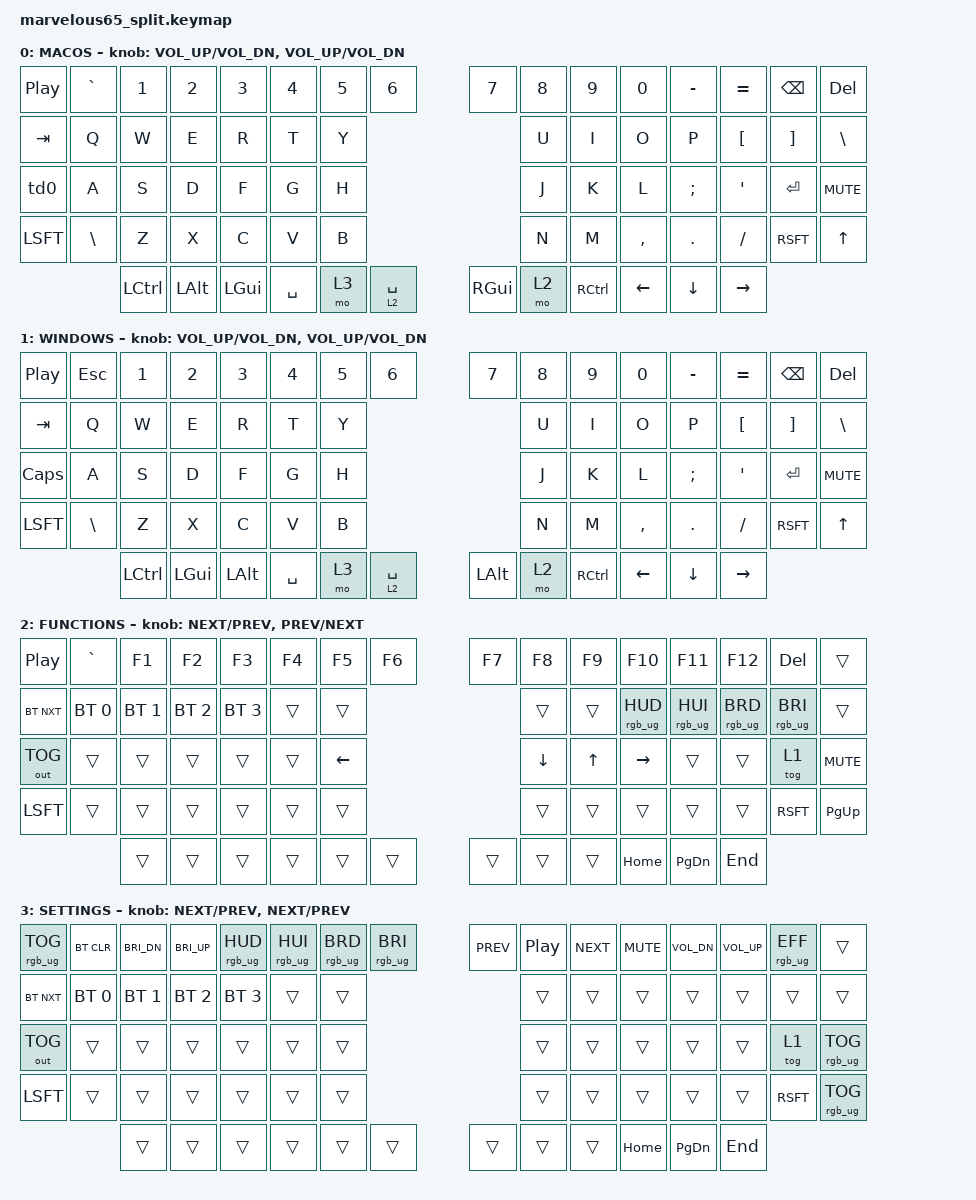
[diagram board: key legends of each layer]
/*
 * Copyright (c) 2020 The ZMK Contributors
 *
 * SPDX-License-Identifier: MIT
 */

#include <behaviors.dtsi>
#include <dt-bindings/zmk/keys.h>
#include <dt-bindings/zmk/bt.h>
#include <dt-bindings/zmk/outputs.h>
#include <dt-bindings/zmk/rgb.h>

/ {
  behaviors {
        td0: tap_dance_0 {
            compatible = "zmk,behavior-tap-dance";
            label = "TAP_DANCE_0";
            #binding-cells = <0>;
            tapping-term-ms = <200>;
            bindings = <&kp CLCK>, <&kp ESC>;
        };
  };

	keymap0: keymap {
		compatible = "zmk,keymap";
		
    default_layer {
      label = "MACOS";
      //      -------------------------------------------------------------------------------------------------
      // ENC  | ESC |  1  |  2  |  3  |  4  |  5  |  6  |   /**/         |  7  |  8  |  9  |  0  |  -  |  =  |   BKSP    |   |
      //      | TAB  |  Q  |  W  |  E  |  R  |  T  |        /**/    |  Y  |  U  |  I  |  O  |  P  |  [  |  ]  |    \     |      |
      //      | CAPS  |  A  |  S  |  D  |  F  |  G  |                |  H  |  J  |  K  |  L  |  ;  |  '  |     ENTER     |  ENC    |
      //      |  SHIFT  |  Z  |  X  |  C  |  V  |  B  |                |  N  |  M  |  ,  |  .  |  /  |    SHIFT   |  UP  |      |
      //      |  CTL  |  WIN  |  ALT  |  SPACE | MO(2) |                |    SPACE    | ALT | MO(1) | CTRL | LEFT | DOWN | RIGHT|
      // -------------------------------------------------------------------------------------------------
      bindings = <
        &kp C_PP &kp GRAVE &kp NUM_1  &kp NUM_2 &kp NUM_3 &kp NUM_4 &kp NUM_5 &kp NUM_6                &kp NUM_7 &kp NUM_8 &kp NUM_9 &kp NUM_0 &kp MINUS &kp EQL  &kp BKSP &kp DEL
              &kp TAB  &kp  Q  &kp  W  &kp  E  &kp  R  &kp  T                            &kp   Y   &kp   U   &kp   I   &kp   O   &kp   P   &kp LBKT &kp RBKT &kp BSLH 
              &td0  &kp  A  &kp  S  &kp  D  &kp  F  &kp  G                                     &kp   H   &kp   J   &kp   K   &kp   L   &kp  SCLN  &kp  QUOT &kp RET &kp C_MUTE
              &kp LSFT   &kp BSLH  &kp  Z  &kp  X  &kp  C  &kp  V  &kp  B                               &kp   N   &kp   M   &kp  CMMA &kp  DOT  &kp FSLH      &kp RSFT &kp UP 
              &kp LCTL &kp  LALT  &kp  LGUI  &kp        SPC        &mo  3                                   &lt 2 SPC       &kp  RGUI  &mo 2 &kp  RCTL  &kp LEFT &kp DOWN &kp RIGHT 
      >;
      //sensor-bindings = <&inc_dec_kp C_VOL_UP C_VOL_DN &inc_dec_kp C_VOL_DN C_VOL_UP>;
      sensor-bindings = <&inc_dec_kp C_VOL_UP C_VOL_DN &inc_dec_kp C_VOL_UP C_VOL_DN>;
        
    };

    windows {
      label = "WINDOWS";
			bindings = <
        &kp C_PP &kp ESC &kp NUM_1  &kp NUM_2 &kp NUM_3 &kp NUM_4 &kp NUM_5 &kp NUM_6                &kp NUM_7 &kp NUM_8 &kp NUM_9 &kp NUM_0 &kp MINUS &kp EQL  &kp BKSP &kp DEL
        	    &kp TAB  &kp  Q  &kp  W  &kp  E  &kp  R  &kp  T                            &kp   Y   &kp   U   &kp   I   &kp   O   &kp   P   &kp LBKT &kp RBKT &kp BSLH 
        	    &kp CLCK  &kp  A  &kp  S  &kp  D  &kp  F  &kp  G                                     &kp   H   &kp   J   &kp   K   &kp   L   &kp  SCLN  &kp  QUOT &kp RET &kp C_MUTE
        	    &kp LSFT   &kp BSLH  &kp  Z  &kp  X  &kp  C  &kp  V  &kp  B                               &kp   N   &kp   M   &kp  CMMA &kp  DOT  &kp FSLH      &kp RSFT &kp UP 
        	    &kp LCTL &kp LGUI    &kp  LALT &kp        SPC        &mo  3                                   &lt 2 SPC     &kp  LALT  &mo  2 &kp  RCTL  &kp LEFT &kp DOWN &kp RIGHT 
			>;
	    sensor-bindings = <&inc_dec_kp C_VOL_UP C_VOL_DN &inc_dec_kp C_VOL_UP C_VOL_DN>;
		};

		functions {
			label = "FUNCTIONS";
      bindings = <
        &kp C_PP &kp GRAVE &kp F1 &kp F2 &kp F3 &kp F4 &kp F5 &kp F6                &kp F7 &kp F8 &kp F9 &kp F10 &kp F11 &kp F12  &kp DEL &trans
        	    &bt BT_NXT  &bt BT_SEL 0 &bt BT_SEL 1 &bt BT_SEL 2  &bt BT_SEL 3  &trans                         &trans  &trans   &trans   &rgb_ug RGB_HUD &rgb_ug RGB_HUI    &rgb_ug RGB_BRD &rgb_ug RGB_BRI &trans
        	    &out OUT_TOG &trans  &trans  &trans  &trans  &trans                                     &kp LEFT  &kp DOWN  &kp UP  &kp RIGHT   &trans &trans &tog 1 &kp C_MUTE
        	    &kp LSFT &trans  &trans  &trans  &trans  &trans  &trans                              &trans &trans   &trans &trans  &trans      &kp RSFT &kp PG_UP
        	    &trans &trans    &trans &trans        &trans                                       &trans     &trans  &trans &trans &kp HOME &kp PG_DN &kp END 
	    >;
	    sensor-bindings = <&inc_dec_kp C_NEXT C_PREV &inc_dec_kp C_PREV C_NEXT>;
    };

    settings {
      label = "SETTINGS";
      bindings = <
        &rgb_ug RGB_TOG   &bt BT_CLR &kp C_BRI_DN &kp C_BRI_UP &rgb_ug RGB_HUD &rgb_ug RGB_HUI    &rgb_ug RGB_BRD &rgb_ug RGB_BRI &kp C_PREV &kp C_PP &kp C_NEXT &kp C_MUTE &kp C_VOL_DN &kp C_VOL_UP  &rgb_ug RGB_EFF &trans
        	    &bt BT_NXT  &bt BT_SEL 0 &bt BT_SEL 1 &bt BT_SEL 2  &bt BT_SEL 3  &trans                         &trans  &trans   &trans   &trans  &trans  &trans &trans  &trans 
        	    &out OUT_TOG &trans  &trans  &trans  &trans  &trans                                     &trans  &trans  &trans  &trans   &trans &trans &tog 1 &rgb_ug RGB_TOG
        	    &kp LSFT &trans  &trans  &trans  &trans  &trans  &trans                              &trans &trans   &trans &trans  &trans      &kp RSFT &rgb_ug RGB_TOG
        	    &trans &trans    &trans &trans        &trans                                       &trans     &trans  &trans &trans &kp HOME &kp PG_DN &kp END 
			>;
      sensor-bindings = <&inc_dec_kp C_NEXT C_PREV &inc_dec_kp C_NEXT C_PREV>;
    }; 
	};
};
